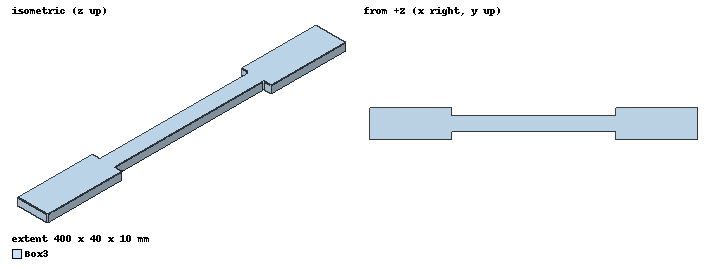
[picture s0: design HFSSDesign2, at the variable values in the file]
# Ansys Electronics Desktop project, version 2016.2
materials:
  vacuum: permittivity=1
  air: permittivity=1.0006 permeability=1.0000004

design HFSSDesign1 (HFSS, DrivenModal, model units mm)
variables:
  a = 40mm
  b = 10mm
  l = 10cm
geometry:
  Box1 [air] = box(corner=(0mm, 0mm, 0mm), size=(a, b, l))
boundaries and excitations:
  FiniteCond1: Finite Conductivity Faces=Box1.face(+x, +y, -x, -y) Conductivity=58000000 Permeability=1 IsInternal
  1: Wave Port Faces=Box1.face(-z) NumModes=2 Modes{Mode1{IntLine{middle of Box1.edge(6 of 12) -> middle of Box1.edge(8 of 12)} CharImp=Zpi} Mode2{IntLine{middle of Box1.edge(6 of 12) -> middle of Box1.edge(8 of 12)} CharImp=Zpi}}
  2: Wave Port Faces=Box1.face(+z) NumModes=2 Modes{Mode1{IntLine{middle of Box1.edge(4 of 12) -> middle of Box1.edge(2 of 12)} CharImp=Zpi} Mode2{IntLine{middle of Box1.edge(4 of 12) -> middle of Box1.edge(2 of 12)} CharImp=Zpi}}
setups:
  Setup1: HfssDriven Frequency=8GHz MaxDeltaS=0.01 MaximumPasses=10 MinimumPasses=1 MinimumConvergedPasses=1 PercentRefinement=30 BasisOrder=1 PortAccuracy=2
    sweep Sweep: 3GHz to 9GHz step 0.5GHz; Type=Discrete
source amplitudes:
  1:1, 1:2: 1W 0deg
  2:1, 2:2: 0W 0deg
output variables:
  mode2 = Gamma(1:2)
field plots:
  Mag_E1: E Field over Box1.face(+y, -z) on Setup1 : LastAdaptive at Freq=8GHz Phase=0deg
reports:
  XY Stacked Plot 1: dB(S(1,1)), dB(S(1,2)), dB(S(2,1)), dB(S(2,2)) vs Freq on Setup1 : Sweep; markers m1 at 3.75GHz
  XY Plot 1: dB(S(1:1,2:1)), dB(S(1:2,2:2)) vs Freq on Setup1 : Sweep; markers m1 at 3.8GHz, m2 at 7.5GHz

design HFSSDesign2 (HFSS, DrivenModal, model units mm)
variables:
  a = 40mm
  b = 10mm
  c = 10cm
  a2 = 20mm
  c1 = 20cm
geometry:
  Box1 = box(corner=(0mm, 0mm, 0mm), size=(c, a, b))
  Box2 = box(corner=(c, (a-a2)/2, 0mm), size=(c1, a2, b))
  Box3 [air] = box(corner=(c+c1, 0mm, 0mm), size=(c, a, b))
  Box3.unite(Box2, Box1)
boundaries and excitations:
  FiniteCond1: Finite Conductivity Faces=Box3.face(3 of 6, 5 of 6, 3 of 6, 5 of 6, +z, -z, -y, +y) Conductivity=58000000 Permeability=1 IsInternal
  1: Wave Port Faces=Box3.face(4 of 6) NumModes=1 Modes{Mode1{IntLine{middle of Box3.edge(7 of 12) -> middle of Box3.edge(3 of 12)} CharImp=Zpi}}
  2: Wave Port Faces=Box3.face(+x) NumModes=1 Modes{Mode1{IntLine{middle of Box3.edge(5 of 12) -> middle of Box3.edge(1 of 12)} CharImp=Zpi}}
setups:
  Setup1: HfssDriven Frequency=8GHz MaxDeltaS=0.02 MaximumPasses=10 MinimumPasses=1 MinimumConvergedPasses=1 PercentRefinement=30 BasisOrder=1 PortAccuracy=2
    sweep Sweep: 3GHz to 9GHz step 0.5GHz; Type=Discrete
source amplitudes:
  1:1: 1W 0deg
  2:1: 0W 0deg
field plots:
  Mag_E1: E Field over Box3.face(+z) on Setup1 : LastAdaptive at Freq=8GHz Phase=0deg
  Mag_E2: E Field over Box3.face(4 of 6) on Setup1 : LastAdaptive at Freq=8GHz Phase=0deg
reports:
  XY Plot 1:
  XY Plot 2:
  XY Plot 3: dB(S(1,2)) vs Freq on Setup1 : Sweep [a2=all c1=all]
